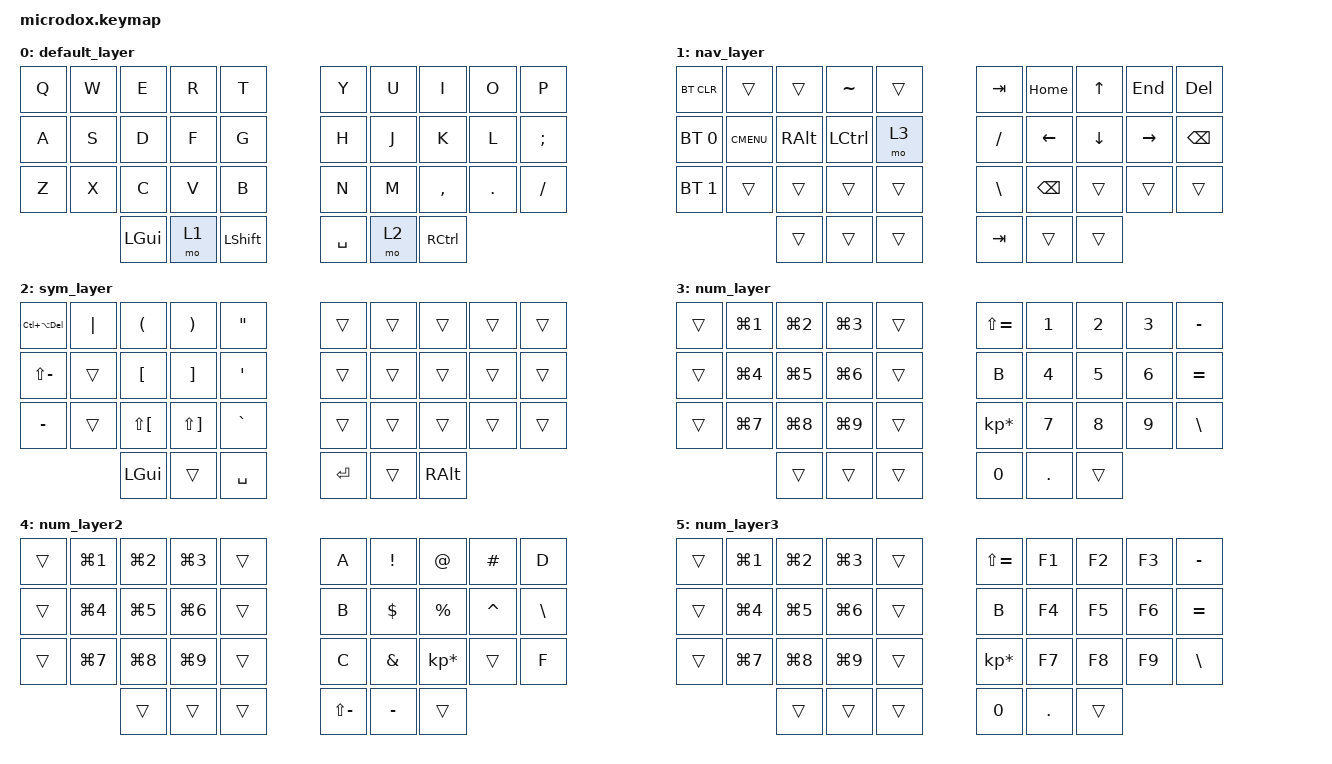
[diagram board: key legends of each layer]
/* 
 *Copyright (c) 2020 The ZMK Contributors
 *SPDX-License-Identifier: MIT
*/



#include <behaviors.dtsi>
#include <dt-bindings/zmk/keys.h>
#include <dt-bindings/zmk/bt.h>


/ {
    combos {
        compatible = "zmk,combos";

        combo_esc {
            timeout-ms      = <50>;
            key-positions   = <11 12>;
            bindings        = <&kp ESC>;
        };

        combo_ret {
            timeout-ms      = <50>;
            key-positions   = <17 18>;
            bindings        = <&kp RET>;
        };


        combo_tab {
            timeout-ms      = <50>;
            key-positions   = <10 11>;
            bindings        = <&kp TAB>;
        };


        combo_bspc {
            timeout-ms      = <50>;
            key-positions   = <18 19>;
            bindings        = <&kp BSPC>;
        };


        combo_num {
            timeout-ms      = <50>;
            key-positions   = <12 13>;
            bindings        = <&mo 3>;
        };

        combo_num2 {
            timeout-ms      = <50>;
            key-positions   = <11 13>;
            bindings        = <&mo 4>;
        };

        combo_num3 {
            timeout-ms      = <50>;
            key-positions   = <10 13>;
            bindings        = <&mo 5>;
        };

        combo_sym {
            timeout-ms      = <50>;
            key-positions   = <16 17>;
            bindings        = <&mo 2>;
        };

    };
};





/ {
    keymap {
        compatible = "zmk,keymap";



        default_layer {

        // -----------------------------------------------------------------------------------------
        // |  Q  |  W  |  E  |  R  |  T   |   |  Y  |  U   |  I    |  O  |  P  |
        // |  A  |  S  |  D  |  F  |  G   |   |  H  |  J   |  K    |  L  |  ;  |
        // |  Z  |  X  |  C  |  V  |  B   |   |  N  |  M   |  ,    |  .  |  /  |
        //             | GUI | NAV | SHFT |   | SPC | SYM  | RCTRL |
        // -----------------------------------------------------------------------------------------


        bindings = <
            &kp Q &kp W    &kp E &kp R              &kp T     &kp Y &kp U  &kp I     &kp O   &kp P
            &kp A &kp S    &kp D &kp F              &kp G     &kp H &kp J  &kp K     &kp L   &kp SEMI
            &kp Z &kp X    &kp C &kp V              &kp B     &kp N &kp M  &kp COMMA &kp DOT &kp FSLH
                  &kp LGUI &mo 1 &kp LSHFT          &kp SPACE &mo 2 &kp RCTRL
        >;
        };







        nav_layer {
        // -----------------------------------------------------------------------------------------
        // |BTCLR|     | ESC |  ~   |     |   | TAB | HOME |  UP  | END | DEL  |
        // | BT1 | GUI | ALT | CTRL | NUM |   |  /  | LEFT | DOWN | RGT | BKSP |
        // | BT2 |     |     |      |     |   |  \  | ENT  |      |     |      |
        //             |     |      |     |   |     |      |      |
        // -----------------------------------------------------------------------------------------

        bindings = <
            &bt BT_CLR   &trans      &trans   &kp TILDE &trans     &kp TAB  &kp HOME &kp UP   &kp END   &kp DEL
            &bt BT_SEL 0 &kp K_CMENU &kp RALT &kp LCTRL &mo 3      &kp FSLH &kp LEFT &kp DOWN &kp RIGHT &kp BSPC
            &bt BT_SEL 1 &trans      &trans   &trans    &trans     &kp BSLH &kp BSPC &trans   &trans    &trans
                                     &trans   &trans    &trans     &kp TAB  &trans   &trans
        >;
                    };




        sym_layer {
        // -----------------------------------------------------------------------------------------
        // |  !  |  @  |  #  |  $  |  %  |   |  ^  |  &  |  *  |  (  |  )  |
        // |     |     |     |     | NUM |   |  -  |  =  |  {  |  }  | "|" |
        // |     |     |     |     |     |   |  _  |  +  |  [  |  ]  |  \  |
        //             | GUI | NUM | SPC |   | ENT |     | ALT |
        // -----------------------------------------------------------------------------------------


        bindings = <
            &kp LC(LA(DEL))    &kp PIPE  &kp LPAR       &kp RPAR        &kp DQT            &trans    &trans    &trans    &trans   &trans 
            &kp LS(MINUS)      &trans    &kp LBKT       &kp RBKT        &kp SQT            &trans    &trans    &trans    &trans   &trans 
            &kp MINUS          &trans    &kp LS(LBKT)   &kp LS(RBKT)    &kp GRAVE          &trans    &trans    &trans    &trans   &trans 
                                         &kp LGUI       &trans          &kp SPACE          &kp RET   &trans    &kp RALT
        >;
                    };


        num_layer {

        // -----------------------------------------------------------------------------------------
        // |     |     |     |     |     |   |  A  |  1  |  2  |  3  |  D  |
        // |     |     |     |     |     |   |  B  |  4  |  5  |  6  |  E  |
        // |     |     |     |     |     |   |  C  |  7  |  8  |  9  |  F  |
        //             |     |     |     |   |  0  |  .  |     |

        bindings = <
            &trans &kp LG(N1)  &kp LG(N2) &kp LG(N3) &trans         &kp LS(EQUAL)    &kp N1  &kp N2 &kp N3 &kp MINUS 
            &trans &kp LG(N4)  &kp LG(N5) &kp LG(N6) &trans         &kp B            &kp N4  &kp N5 &kp N6 &kp EQUAL 
            &trans &kp LG(N7)  &kp LG(N8) &kp LG(N9) &trans         &kp KP_MULTIPLY  &kp N7  &kp N8 &kp N9 &kp BSLH
                               &trans     &trans     &trans         &kp N0           &kp DOT &trans
        >;
        };


        num_layer2 {

        // -----------------------------------------------------------------------------------------
        // |     |     |     |     |     |    |  A  |  !  |  @  |  #  |  D  |
        // |     |     |     |     |     |    |  B  |  $  |  %  |  ^  |  E  |
        // |     |     |     |     |     |    |  C  |  &  |  *  |     |  F  |
        //             |     |     |     |    |  0  |  .  |     |
        bindings = <
            &trans &kp LG(N1)  &kp LG(N2) &kp LG(N3) &trans         &kp A           &kp EXCL    &kp AT          &kp HASH  &kp D
            &trans &kp LG(N4)  &kp LG(N5) &kp LG(N6) &trans         &kp B           &kp DLLR    &kp PRCNT       &kp CARET &kp BSLH
            &trans &kp LG(N7)  &kp LG(N8) &kp LG(N9) &trans         &kp C           &kp AMPS    &kp KP_MULTIPLY &trans    &kp F
                               &trans     &trans     &trans         &kp LS(MINUS)   &kp MINUS   &trans
        >;
        };

        num_layer3 {

        // -----------------------------------------------------------------------------------------
        // |     |     |     |     |     |   |  A  |  1  |  2  |  3  |  D  |
        // |     |     |     |     |     |   |  B  |  4  |  5  |  6  |  E  |
        // |     |     |     |     |     |   |  C  |  7  |  8  |  9  |  F  |
        //             |     |     |     |   |  0  |  .  |     |
        bindings = <
            &trans &kp LG(N1)  &kp LG(N2) &kp LG(N3) &trans         &kp LS(EQUAL)    &kp F1  &kp F2 &kp F3 &kp MINUS 
            &trans &kp LG(N4)  &kp LG(N5) &kp LG(N6) &trans         &kp B            &kp F4  &kp F5 &kp F6 &kp EQUAL 
            &trans &kp LG(N7)  &kp LG(N8) &kp LG(N9) &trans         &kp KP_MULTIPLY  &kp F7  &kp F8 &kp F9 &kp BSLH
                               &trans     &trans     &trans         &kp N0           &kp DOT &trans
        >;
        };

    };
};
